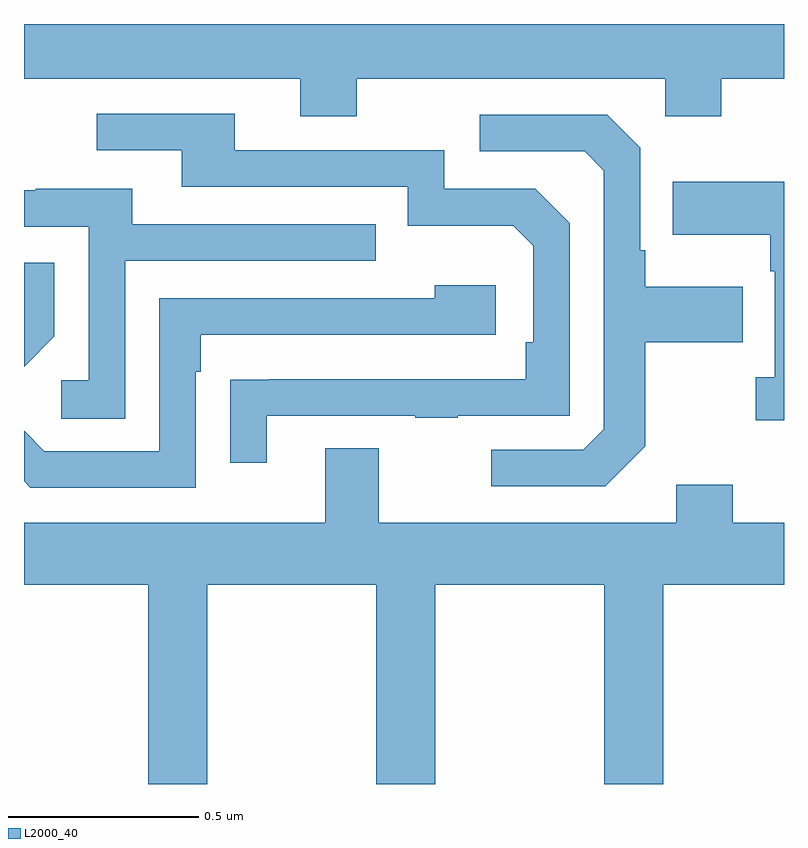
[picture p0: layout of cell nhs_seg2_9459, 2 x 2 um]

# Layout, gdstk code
import gdstk
lib = gdstk.Library(unit=1e-6, precision=1e-09)
def P(c, l, *ps):  # polygons
    for p in ps: c.add(gdstk.Polygon(p, *l))
L2000_40 = (2000, 40)

nhs_seg2_9459 = lib.new_cell('nhs_seg2_9459')
P(nhs_seg2_9459, L2000_40, [(229.875,627.656),(230.688,627.656),(230.688,627.557),(230.835,627.557),(230.835,627.656),(231,627.656),(231,627.8),(229,627.8),(229,627.656),(229.727,627.656),(229.727,627.557),(229.875,627.557)],
  [(229.639,626.769),(230.029,626.769),(230.029,626.764),(230.141,626.764),(230.141,626.769),(230.436,626.769),(230.436,627.276),(230.346,627.366),(230.106,627.366),(230.106,627.468),(229.555,627.468),(229.555,627.564),(229.191,627.564),(229.191,627.468),(229.415,627.468),(229.415,627.372),(230.01,627.372),(230.01,627.269),(230.287,627.269),(230.34,627.216),(230.34,626.962),(230.32,626.962),(230.32,626.865),(229.645,626.865),(229.645,626.864),(229.543,626.864),(229.543,626.646),(229.639,626.646)],
  [(230.635,626.689),(230.635,626.962),(230.891,626.962),(230.891,627.109),(230.635,627.109),(230.635,627.205),(230.622,627.205),(230.622,627.474),(230.535,627.561),(230.199,627.561),(230.199,627.465),(230.475,627.465),(230.526,627.414),(230.526,626.733),(230.472,626.679),(230.229,626.679),(230.229,626.583),(230.529,626.583)],
  [(231,627.385),(230.707,627.385),(230.707,627.245),(230.964,627.245),(230.964,627.149),(230.976,627.149),(230.976,626.87),(230.925,626.87),(230.925,626.757),(231,626.757)],
  [(229.266,627.177),(229.925,627.177),(229.925,627.273),(229.285,627.273),(229.285,627.367),(229.031,627.367),(229.031,627.363),(229,627.363),(229,627.267),(229.17,627.267),(229.17,626.862),(229.098,626.862),(229.098,626.761),(229.266,626.761)],
  [(229.08,626.978),(229.08,627.172),(229,627.172),(229,626.898)],
  [(229.452,626.885),(229.465,626.885),(229.465,626.982),(230.242,626.982),(230.242,627.112),(230.081,627.112),(230.081,627.078),(229.356,627.078),(229.356,626.676),(229.053,626.676),(229,626.729),(229,626.597),(229.017,626.58),(229.452,626.58)],
  [(229.482,626.324),(229.927,626.324),(229.927,625.8),(230.082,625.8),(230.082,626.324),(230.527,626.324),(230.527,625.8),(230.682,625.8),(230.682,626.324),(231,626.324),(231,626.488),(230.865,626.488),(230.865,626.587),(230.717,626.587),(230.717,626.488),(229.933,626.488),(229.933,626.683),(229.793,626.683),(229.793,626.488),(229,626.488),(229,626.324),(229.327,626.324),(229.327,625.8),(229.482,625.8)])

lib.write_gds('nhs_seg2_9459.gds')
